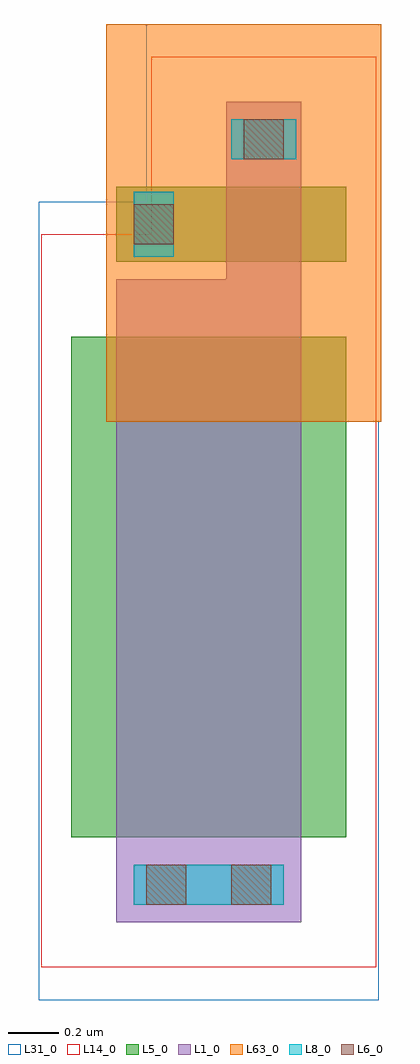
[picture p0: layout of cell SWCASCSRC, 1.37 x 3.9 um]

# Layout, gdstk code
import gdstk
lib = gdstk.Library(unit=1e-6, precision=1e-09)
def R(c, l, rs):  # rectangles x0, y0, x1, y1
    for r in rs: c.add(gdstk.rectangle(r[:2], r[2:], *l))
L1_0 = (1, 0)
L5_0 = (5, 0)
L6_0 = (6, 0)
L8_0 = (8, 0)
L14_0 = (14, 0)
L31_0 = (31, 0)
L63_0 = (63, 0)

switchedpmoscascode = lib.new_cell('SwitchedPMOSCascode')
R(switchedpmoscascode, L1_0, [(0.29,-0.38,0.59,0.49)])
R(switchedpmoscascode, L5_0, [(-0.15,-0.15,0.77,0.15)])
R(switchedpmoscascode, L6_0, [(-0.08,-0.08,0.08,0.08), (0.36,0.26,0.52,0.42)])
R(switchedpmoscascode, L8_0, [(-0.08,-0.13,0.08,0.13), (0.31,0.26,0.57,0.42)])
R(switchedpmoscascode, L14_0, [(-0.01,-0.56,0.89,0.67)])
R(switchedpmoscascode, L31_0, [(-0.03,-0.79,0.91,0.8)])
R(switchedpmoscascode, L63_0, [(-0.19,-0.79,0.91,0.8)])

swcascsrc = lib.new_cell('SWCASCSRC')
R(swcascsrc, L1_0, [(-0.15,-2.79,0.59,-0.22)])
R(swcascsrc, L5_0, [(-0.33,-2.45,0.77,-0.45)])
R(swcascsrc, L6_0, [(-0.03,-2.72,0.13,-2.56), (0.31,-2.72,0.47,-2.56)])
R(swcascsrc, L8_0, [(-0.08,-2.72,0.52,-2.56)])
R(swcascsrc, L14_0, [(-0.45,-2.97,0.89,-0.04)])
R(swcascsrc, L31_0, [(-0.46,-3.1,0.9,0.09)])
swcascsrc.add(gdstk.Reference(switchedpmoscascode, (0,0)))

lib.write_gds('SWCASCSRC.gds')
